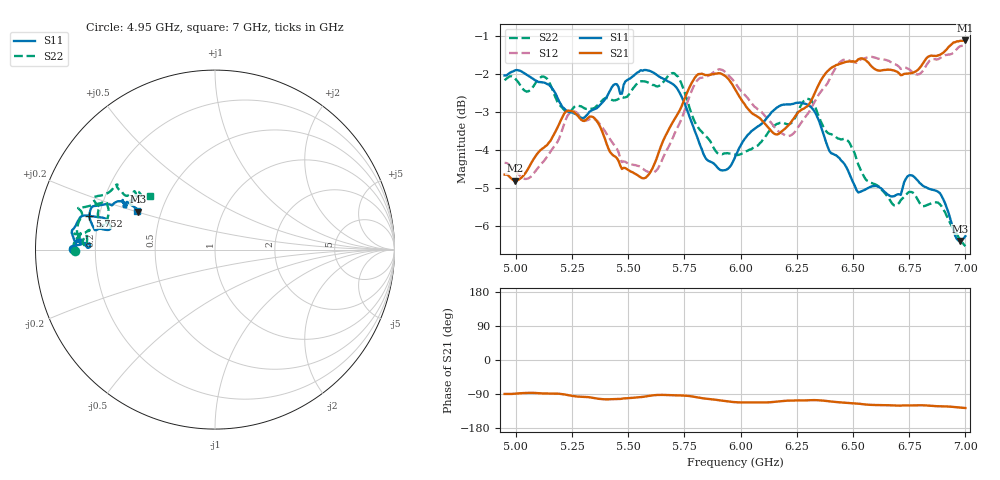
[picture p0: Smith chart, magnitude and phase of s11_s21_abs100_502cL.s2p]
! MS46122B
! 1919307/90821646
! 5/18/2022 2:59:58 PM
! C:\USERS\PC_\DESKTOP\CARACTERIZACION\MEDICIONES\BANDA ANCHA\S11_S21_ABS10_502CL.S2P
! CHANNEL.1
! TR.MEASUREMENT
! CORRECTED.DATA
# GHZ S RI R 50.0
! FREQ.GHZ  S11RE  S11IM  S21RE  S21IM  S12RE  S12IM  S22RE  S22IM
!; PortSelection: Port_12
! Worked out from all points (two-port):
!   272 points, 4.95 GHz to 7 GHz, reference 50 ohm
!   highest |S21| = -1.11 dB at 7 GHz (marker M1); lowest = -4.8 dB at 4.995 GHz (marker M2)
!   |S21| within 3 dB of the highest: 5.093 GHz to 5.429 GHz (335.9 MHz wide, 6.39 % of centre); 5.633 GHz to end of sweep
!   lowest |S11| = -6.4 dB at 6.977 GHz (marker M3), VSWR 2.84, Z = 18.4 + j10.2 ohm
!   |S11| at or under -10 dB: nowhere
!   |S22| runs from -6.5 to -2.0 dB; largest |S21 - S12| = 0.047
!   S11 on the Smith chart (normalised r, x): 4.95 GHz: 0.12, +0.00; 5.752 GHz: 0.16, +0.13; 7 GHz: 0.36, +0.20
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4.95  -0.7909 0.00114  0.00411 -0.5857  0.00307 -0.607  -0.7795 -0.0054
4.995387  -0.803 0.013  0.00965 -0.5749  0.00163 -0.593  -0.7833 0.0429
5.13155  -0.7717 0.0458  0.0195 -0.638  0.00731 -0.614  -0.7815 0.0863
5.184502  -0.739 0.0401  0.0159 -0.6747  0.00778 -0.6463  -0.7246 0.0931
5.245018  -0.7065 0.0299  -0.0512 -0.7085  -0.0228 -0.7087  -0.702 0.1044
5.29797  -0.6945 0.0202  -0.0865 -0.6841  -0.0599 -0.6899  -0.7144 0.0735
5.358487  -0.7156 0.0174  -0.1383 -0.676  -0.1053 -0.6827  -0.7204 0.0213
5.456827  -0.7616 0.0608  -0.1355 -0.5956  -0.1584 -0.6067  -0.7344 0.0597
5.47952  -0.7685 0.0251  -0.1179 -0.5862  -0.1404 -0.5933  -0.7369 0.0638
5.638376  -0.7768 0.1323  -0.0231 -0.6291  -0.0341 -0.6002  -0.7406 0.1985
5.706458  -0.7445 0.185  -0.0374 -0.6922  -0.0397 -0.6623  -0.7611 0.2322
5.751845  -0.7005 0.1889  -0.0524 -0.7366  -0.0524 -0.7107  -0.7105 0.241
5.84262  -0.5952 0.1623  -0.1626 -0.7751  -0.1299 -0.776  -0.6042 0.2633
5.978782  -0.6111 0.1106  -0.2757 -0.7038  -0.2673 -0.7232  -0.6031 0.1513
6.084686  -0.6709 0.1108  -0.2608 -0.6445  -0.2823 -0.6533  -0.6305 0.1303
6.152768  -0.695 0.1651  -0.2277 -0.6219  -0.2465 -0.6287  -0.6523 0.1923
6.319188  -0.6731 0.2427  -0.2021 -0.7098  -0.2053 -0.6915  -0.6677 0.2952
6.440221  -0.5566 0.2626  -0.3033 -0.761  -0.2656 -0.7788  -0.5429 0.3623
6.659594  -0.4975 0.2351  -0.3954 -0.7011  -0.4129 -0.7164  -0.4718 0.2736
6.757934  -0.515 0.2769  -0.3969 -0.6905  -0.4123 -0.6884  -0.451 0.3248
6.977306  -0.4295 0.2122  -0.511 -0.7146  -0.4869 -0.7143  -0.3756 0.3009
7  -0.4363 0.2142  -0.5263 -0.7047  -0.5009 -0.7052  -0.3642 0.2995
